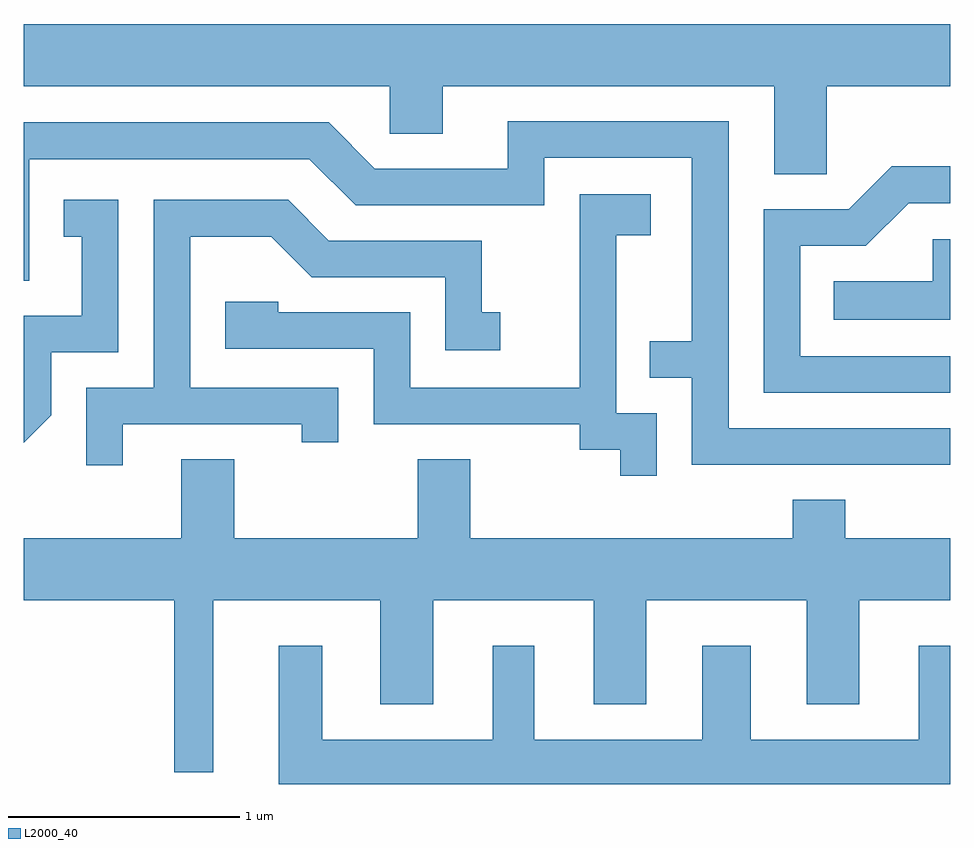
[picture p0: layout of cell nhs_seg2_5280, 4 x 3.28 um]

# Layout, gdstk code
import gdstk
lib = gdstk.Library(unit=1e-6, precision=1e-09)
def P(c, l, *ps):  # polygons
    for p in ps: c.add(gdstk.Polygon(p, *l))
L2000_40 = (2000, 40)

nhs_seg2_5280 = lib.new_cell('nhs_seg2_5280')
P(nhs_seg2_5280, L2000_40, [(345.079,992.816),(345.611,992.816),(345.611,993.084),(341.611,993.084),(341.611,992.816),(343.191,992.816),(343.191,992.611),(343.419,992.611),(343.419,992.816),(344.851,992.816),(344.851,992.436),(345.079,992.436)],
  [(345.611,991.339),(344.654,991.339),(344.654,992.664),(343.701,992.664),(343.701,992.459),(343.127,992.459),(342.927,992.659),(341.611,992.659),(341.611,991.976),(341.634,991.976),(341.634,992.501),(342.844,992.501),(343.044,992.301),(343.859,992.301),(343.859,992.506),(344.496,992.506),(344.496,991.714),(344.313,991.714),(344.313,991.556),(344.496,991.556),(344.496,991.181),(345.611,991.181)],
  [(345.611,991.649),(344.964,991.649),(344.964,992.126),(345.247,992.126),(345.432,992.311),(345.611,992.311),(345.611,992.469),(345.359,992.469),(345.174,992.284),(344.806,992.284),(344.806,991.491),(345.611,991.491)],
  [(344.344,991.404),(344.169,991.404),(344.169,992.171),(344.319,992.171),(344.319,992.349),(344.011,992.349),(344.011,991.514),(343.279,991.514),(343.279,991.839),(342.709,991.839),(342.709,991.884),(342.481,991.884),(342.481,991.681),(343.121,991.681),(343.121,991.356),(344.011,991.356),(344.011,991.246),(344.186,991.246),(344.186,991.133),(344.344,991.133)],
  [(342.039,991.356),(342.811,991.356),(342.811,991.278),(342.969,991.278),(342.969,991.514),(342.329,991.514),(342.329,992.166),(342.679,992.166),(342.854,991.991),(343.431,991.991),(343.431,991.676),(343.668,991.676),(343.668,991.839),(343.589,991.839),(343.589,992.149),(342.927,992.149),(342.752,992.324),(342.171,992.324),(342.171,991.514),(341.881,991.514),(341.881,991.178),(342.039,991.178)],
  [(341.729,991.394),(341.729,991.666),(342.019,991.666),(342.019,992.324),(341.783,992.324),(341.783,992.166),(341.861,992.166),(341.861,991.824),(341.611,991.824),(341.611,991.275)],
  [(345.611,992.154),(345.536,992.154),(345.536,991.974),(345.108,991.974),(345.108,991.806),(345.611,991.806)],
  [(342.429,990.596),(343.151,990.596),(343.151,990.146),(343.379,990.146),(343.379,990.596),(344.071,990.596),(344.071,990.146),(344.299,990.146),(344.299,990.596),(344.991,990.596),(344.991,990.146),(345.219,990.146),(345.219,990.596),(345.611,990.596),(345.611,990.864),(345.159,990.864),(345.159,991.029),(344.931,991.029),(344.931,990.864),(343.539,990.864),(343.539,991.204),(343.311,991.204),(343.311,990.864),(342.519,990.864),(342.519,991.204),(342.291,991.204),(342.291,990.864),(341.611,990.864),(341.611,990.596),(342.261,990.596),(342.261,989.853),(342.429,989.853)],
  [(345.611,990.399),(345.476,990.399),(345.476,989.994),(344.749,989.994),(344.749,990.399),(344.541,990.399),(344.541,989.994),(343.814,989.994),(343.814,990.399),(343.636,990.399),(343.636,989.994),(342.899,989.994),(342.899,990.399),(342.711,990.399),(342.711,989.802),(345.611,989.802)])

lib.write_gds('nhs_seg2_5280.gds')
